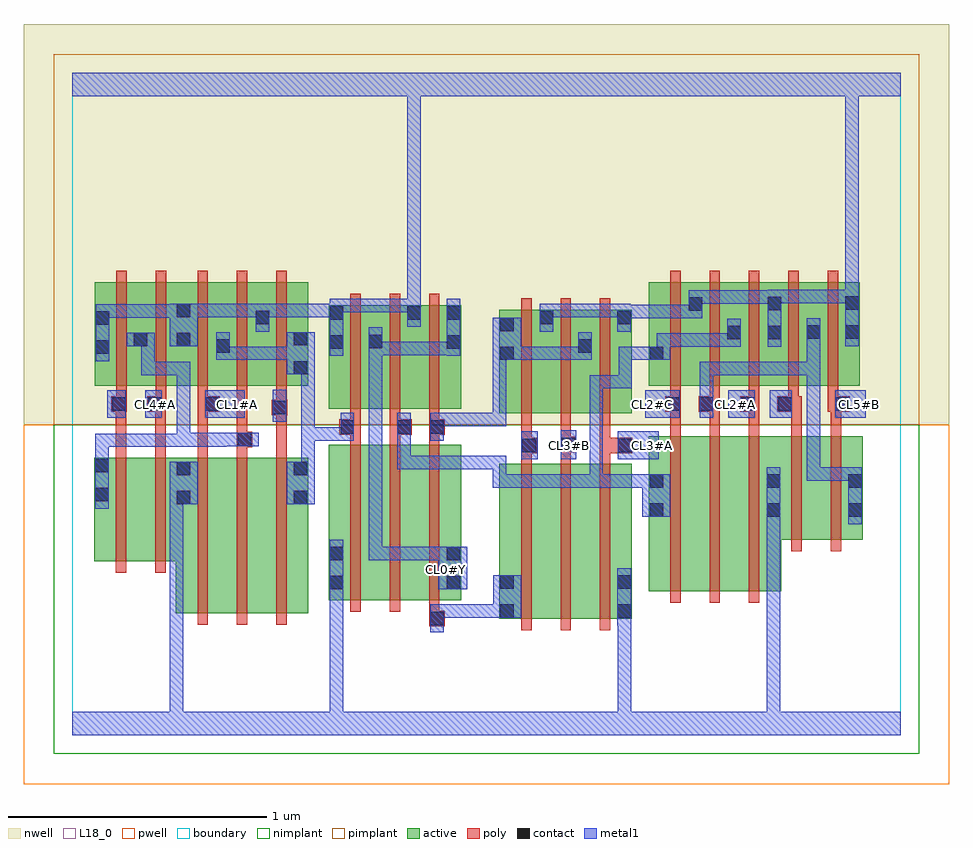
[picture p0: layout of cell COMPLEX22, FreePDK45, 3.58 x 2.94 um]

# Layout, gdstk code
import gdstk
lib = gdstk.Library(unit=1e-6, precision=1e-09)
def R(c, l, rs):  # rectangles x0, y0, x1, y1
    for r in rs: c.add(gdstk.rectangle(r[:2], r[2:], *l))
def A(c, l, x, y, w, h, nx, ny, dx, dy):  # array of equal rectangles
    R(c, l, [(x+i*dx, y+j*dy, x+i*dx+w, y+j*dy+h) for i in range(nx) for j in range(ny)])
active = (1, 0)
pwell = (2, 0)
nwell = (3, 0)
nimplant = (4, 0)
pimplant = (5, 0)
poly = (9, 0)
contact = (10, 0)
metal1 = (11, 0)
L18_0 = (18, 0)
boundary = (235, 0)

complex22 = lib.new_cell('COMPLEX22')
R(complex22, active, [(1.65,0.45,1.83,1.05), (1.65,0.45,1.71,1.05), (1.83,0.45,1.982,1.05), (1.982,0.45,2.162,1.05), (2.102,0.45,2.162,1.05), (0.4,0.472,0.58,1.072), (0.4,0.472,0.46,1.06), (0.58,0.472,0.732,1.072), (0.732,0.472,0.912,1.072), (0.99,0.522,1.17,1.122), (0.99,0.522,1.05,1.122), (1.17,0.522,1.322,1.122), (1.322,0.522,1.502,1.122), (1.442,0.522,1.502,1.122), (0.852,0.556,0.912,1.072), (2.226,0.556,2.406,1.156), (2.226,0.556,2.286,1.156), (2.406,0.556,2.558,1.156), (2.558,0.556,2.738,1.156), (0.084,0.672,0.264,1.072), (0.264,0.672,0.46,1.072), (0.084,0.756,0.144,1.072), (2.678,0.756,2.738,1.156), (2.678,0.756,2.874,1.156), (2.874,0.756,3.054,1.156), (2.994,0.756,3.054,1.156), (1.65,1.244,1.71,1.644), (1.65,1.244,1.862,1.644), (1.802,1.244,1.862,1.644), (1.802,1.244,2.01,1.644), (1.95,1.244,2.01,1.644), (1.95,1.244,2.162,1.644), (2.102,1.244,2.162,1.644), (0.99,1.262,1.05,1.662), (0.99,1.262,1.202,1.662), (1.142,1.262,1.202,1.662), (1.142,1.262,1.35,1.662), (1.29,1.262,1.502,1.662), (1.442,1.262,1.502,1.662), (0.086,1.35,0.294,1.75), (0.086,1.35,0.146,1.644), (0.234,1.35,0.46,1.75), (0.4,1.35,0.46,1.75), (0.4,1.35,0.612,1.75), (0.552,1.35,0.764,1.75), (0.704,1.35,0.912,1.75), (0.852,1.35,0.912,1.644), (2.226,1.35,2.438,1.75), (2.226,1.35,2.286,1.644), (2.378,1.35,2.586,1.75), (2.378,1.35,2.438,1.696), (2.526,1.35,2.742,1.75), (2.526,1.35,2.586,1.644), (2.682,1.35,2.742,1.75), (2.682,1.35,2.894,1.75), (2.834,1.35,2.894,1.75), (2.834,1.35,3.042,1.75), (2.982,1.35,3.042,1.75), (0.552,1.416,0.612,1.75), (0.234,1.5,0.294,1.644), (1.29,1.572,1.35,1.662), (0.704,1.584,0.764,1.644)])
R(complex22, pwell, [(-0.188,-0.188,3.388,1.2)])
R(complex22, nwell, [(-0.188,1.2,3.388,2.748)])
R(complex22, nimplant, [(-0.072,-0.072,3.272,1.2)])
R(complex22, pimplant, [(-0.072,1.2,3.272,2.632)])
A(complex22, poly, 1.734, 0.406, 0.04, 0.688, 3, 1, 0.152, 0)
A(complex22, poly, 0.484, 0.428, 0.04, 0.688, 3, 1, 0.152, 0)
A(complex22, poly, 1.074, 0.478, 0.04, 0.688, 3, 1, 0.152, 0)
A(complex22, poly, 2.31, 0.512, 0.04, 0.688, 3, 1, 0.152, 0)
A(complex22, poly, 1.074, 1.126, 0.04, 0.076, 3, 2, 0.152, 0.056)
A(complex22, poly, 2.31, 1.16, 0.04, 0.13, 3, 1, 0.152, 0)
A(complex22, poly, 1.734, 1.2, 0.04, 0.488, 3, 1, 0.152, 0)
A(complex22, poly, 1.074, 1.218, 0.04, 0.488, 3, 1, 0.152, 0)
A(complex22, poly, 2.31, 1.27, 0.04, 0.076, 5, 1, 0.152, 0)
A(complex22, poly, 0.484, 1.306, 0.04, 0.488, 3, 1, 0.152, 0)
A(complex22, poly, 2.31, 1.306, 0.04, 0.488, 5, 1, 0.152, 0)
R(complex22, poly, [(1.378,0.422,1.438,0.482), (1.378,0.442,1.418,0.518), (0.168,0.628,0.208,1.116), (0.32,0.628,0.36,1.116), (2.778,0.712,2.818,1.2), (2.93,0.712,2.97,1.2), (1.734,1.054,1.774,1.13), (1.886,1.054,1.926,1.134), (2.038,1.054,2.078,1.13), (0.168,1.076,0.208,1.29), (0.32,1.076,0.36,1.29), (0.484,1.076,0.524,1.29), (0.636,1.076,0.676,1.152), (0.788,1.076,0.828,1.276), (1.734,1.09,1.774,1.13), (1.734,1.09,1.774,1.13), (1.734,1.09,1.794,1.15), (2.038,1.09,2.164,1.15), (1.886,1.094,1.926,1.134), (1.886,1.094,1.926,1.134), (1.886,1.094,1.946,1.154), (1.734,1.11,1.774,1.24), (2.038,1.11,2.078,1.15), (2.038,1.11,2.078,1.15), (2.038,1.11,2.078,1.24), (0.636,1.112,0.696,1.172), (1.886,1.114,1.926,1.24), (0.636,1.132,0.676,1.172), (0.636,1.132,0.676,1.172), (0.636,1.132,0.676,1.346), (2.778,1.16,2.818,1.29), (2.93,1.16,2.97,1.29), (1.032,1.162,1.114,1.222), (1.074,1.162,1.114,1.202), (1.074,1.162,1.114,1.202), (1.226,1.162,1.312,1.222), (1.378,1.162,1.418,1.202), (1.378,1.162,1.418,1.202), (1.378,1.162,1.438,1.222), (1.226,1.182,1.266,1.222), (1.226,1.182,1.266,1.222), (0.77,1.236,0.83,1.296), (0.788,1.236,0.828,1.276), (0.788,1.236,0.828,1.276), (0.15,1.25,0.21,1.31), (0.168,1.25,0.208,1.29), (0.168,1.25,0.208,1.29), (0.29,1.25,0.36,1.31), (0.484,1.25,0.524,1.29), (0.484,1.25,0.524,1.29), (0.484,1.25,0.57,1.31), (2.29,1.25,2.35,1.31), (2.31,1.25,2.35,1.29), (2.31,1.25,2.35,1.29), (2.42,1.25,2.502,1.31), (2.462,1.25,2.502,1.29), (2.462,1.25,2.502,1.29), (2.58,1.25,2.654,1.31), (2.724,1.25,2.818,1.31), (2.918,1.25,3.004,1.31), (2.93,1.25,2.97,1.29), (2.93,1.25,2.97,1.29), (0.788,1.256,0.828,1.346), (0.17,1.27,0.21,1.346), (0.32,1.27,0.36,1.31), (0.32,1.27,0.362,1.31), (0.322,1.27,0.362,1.346), (0.484,1.27,0.524,1.346), (2.614,1.27,2.654,1.31), (2.614,1.27,2.654,1.31), (2.766,1.27,2.806,1.31), (2.766,1.27,2.806,1.31), (0.17,1.306,0.21,1.794), (0.322,1.306,0.362,1.794)])
R(complex22, contact, [(1.382,0.426,1.434,0.478), (1.654,0.454,1.706,0.506), (2.106,0.454,2.158,0.506), (0.994,0.564,1.046,0.616), (1.446,0.564,1.498,0.616), (1.654,0.566,1.706,0.618), (2.106,0.566,2.158,0.618), (0.994,0.676,1.046,0.728), (1.446,0.676,1.498,0.728), (2.23,0.844,2.282,0.896), (2.682,0.844,2.734,0.896), (2.998,0.844,3.05,0.896), (0.404,0.892,0.456,0.944), (0.856,0.892,0.908,0.944), (0.088,0.904,0.14,0.956), (2.23,0.956,2.282,1.008), (2.682,0.956,2.734,1.008), (2.998,0.956,3.05,1.008), (0.404,1.004,0.456,1.056), (0.856,1.004,0.908,1.056), (0.088,1.016,0.14,1.068), (1.738,1.094,1.79,1.146), (2.108,1.094,2.16,1.146), (1.89,1.098,1.942,1.15), (0.64,1.116,0.692,1.168), (1.036,1.166,1.088,1.218), (1.256,1.166,1.308,1.218), (1.382,1.166,1.434,1.218), (0.774,1.24,0.826,1.292), (0.154,1.254,0.206,1.306), (0.294,1.254,0.346,1.306), (0.514,1.254,0.566,1.306), (2.294,1.254,2.346,1.306), (2.424,1.254,2.476,1.306), (2.584,1.254,2.636,1.306), (2.728,1.254,2.78,1.306), (2.948,1.254,3,1.306), (0.856,1.394,0.908,1.446), (1.654,1.45,1.706,1.502), (2.23,1.45,2.282,1.502), (0.09,1.474,0.142,1.526), (0.556,1.478,0.608,1.53), (1.954,1.478,2.006,1.53), (0.994,1.494,1.046,1.546), (1.446,1.494,1.498,1.546), (1.146,1.496,1.198,1.548), (0.238,1.504,0.29,1.556), (0.404,1.504,0.456,1.556), (0.856,1.506,0.908,1.558), (2.53,1.53,2.582,1.582), (2.686,1.53,2.738,1.582), (2.838,1.532,2.89,1.584), (2.986,1.532,3.038,1.584), (1.654,1.562,1.706,1.614), (0.09,1.586,0.142,1.638), (0.708,1.588,0.76,1.64), (1.806,1.588,1.858,1.64), (2.106,1.588,2.158,1.64), (0.994,1.606,1.046,1.658), (1.294,1.606,1.346,1.658), (1.446,1.606,1.498,1.658), (0.404,1.616,0.456,1.668), (2.382,1.64,2.434,1.692), (2.686,1.642,2.738,1.694), (2.986,1.644,3.038,1.696)])
A(complex22, metal1, 2.534, 1.392, 0.052, 0.052, 3, 1, 0.152, 0)
R(complex22, metal1, [(0,0,3.2,0.092), (0.376,0.04,0.428,0.944), (0.994,0.04,1.046,0.092), (0.994,0.04,1.046,0.092), (0.994,0.04,1.046,0.092), (0.994,0.04,1.046,0.092), (0.994,0.04,1.046,0.092), (0.994,0.04,1.046,0.092), (0.994,0.04,1.046,0.588), (2.108,0.04,2.16,0.092), (2.108,0.04,2.16,0.092), (2.108,0.04,2.16,0.092), (2.108,0.04,2.16,0.092), (2.108,0.04,2.16,0.092), (2.108,0.04,2.16,0.092), (2.108,0.04,2.16,0.478), (2.682,0.04,2.734,0.092), (2.682,0.04,2.734,0.092), (2.682,0.04,2.734,0.092), (2.682,0.04,2.734,0.092), (2.682,0.04,2.734,0.092), (2.682,0.04,2.734,0.092), (2.682,0.04,2.734,0.092), (2.682,0.04,2.734,0.092), (2.682,0.04,2.734,0.868), (1.382,0.398,1.434,0.506), (2.106,0.426,2.16,0.646), (2.108,0.426,2.16,0.478), (2.108,0.426,2.16,0.478), (1.382,0.454,1.676,0.506), (1.624,0.454,1.676,0.506), (1.624,0.454,1.676,0.506), (1.624,0.454,1.678,0.506), (1.626,0.454,1.678,0.506), (1.626,0.454,1.734,0.618), (0.994,0.536,1.046,0.588), (0.994,0.536,1.046,0.588), (0.994,0.536,1.046,0.756), (1.414,0.564,1.526,0.728), (1.146,0.676,1.198,0.728), (1.146,0.676,1.198,0.728), (1.146,0.676,1.198,0.728), (1.146,0.676,1.198,0.728), (1.146,0.676,1.198,0.728), (1.146,0.676,1.308,0.728), (1.146,0.676,1.198,1.52), (1.256,0.676,1.308,0.728), (1.256,0.676,1.308,0.728), (1.256,0.676,1.308,0.728), (1.256,0.676,1.308,0.728), (1.256,0.676,1.308,0.728), (1.256,0.676,1.466,0.728), (1.414,0.676,1.466,0.728), (1.414,0.676,1.466,0.728), (1.414,0.676,1.466,0.728), (1.414,0.676,1.466,0.728), (1.414,0.676,1.466,0.728), (1.414,0.676,1.466,0.728), (2.682,0.816,2.734,1.036), (2.998,0.816,3.05,1.036), (2.202,0.844,2.31,1.008), (0.088,0.876,0.14,1.096), (0.376,0.892,0.428,0.944), (0.376,0.892,0.428,0.944), (0.376,0.892,0.428,0.944), (0.376,0.892,0.428,0.944), (0.376,0.892,0.428,0.944), (0.376,0.892,0.428,0.944), (0.376,0.892,0.428,0.944), (0.376,0.892,0.428,0.944), (0.376,0.892,0.484,1.056), (0.828,0.892,0.936,1.056), (1.624,0.956,1.786,1.008), (1.624,0.956,1.676,1.08), (1.734,0.956,1.786,1.008), (1.734,0.956,1.896,1.008), (1.844,0.956,1.896,1.008), (1.844,0.956,1.896,1.008), (1.844,0.956,1.896,1.008), (1.844,0.956,1.896,1.008), (1.844,0.956,1.896,1.008), (1.844,0.956,1.896,1.008), (1.844,0.956,1.896,1.008), (1.844,0.956,2.01,1.008), (1.844,0.956,2.05,1.008), (1.958,0.956,2.01,1.008), (1.958,0.956,2.054,1.008), (1.998,0.956,2.05,1.008), (1.998,0.956,2.05,1.392), (2.002,0.956,2.054,1.008), (2.002,0.956,2.158,1.008), (2.106,0.956,2.158,1.008), (2.106,0.956,2.254,1.008), (2.838,0.984,2.89,1.036), (2.838,0.984,3.05,1.036), (2.838,0.984,2.89,1.444), (2.998,0.984,3.05,1.036), (2.998,0.984,3.05,1.036), (0.884,1.004,0.936,1.056), (0.884,1.004,0.936,1.056), (0.884,1.004,0.936,1.19), (1.256,1.028,1.308,1.19), (1.256,1.028,1.566,1.08), (1.514,1.028,1.566,1.08), (1.514,1.028,1.566,1.08), (1.514,1.028,1.566,1.08), (1.514,1.028,1.676,1.08), (0.088,1.044,0.14,1.096), (0.088,1.044,0.14,1.166), (1.734,1.066,1.798,1.174), (1.886,1.066,1.946,1.178), (2.108,1.066,2.266,1.174), (0.088,1.114,0.316,1.166), (0.264,1.114,0.316,1.166), (0.264,1.114,0.316,1.166), (0.264,1.114,0.316,1.166), (0.264,1.114,0.484,1.166), (0.432,1.114,0.484,1.166), (0.432,1.114,0.484,1.166), (0.432,1.114,0.484,1.166), (0.432,1.114,0.594,1.166), (0.542,1.114,0.594,1.168), (0.404,1.116,0.456,1.168), (0.404,1.116,0.456,1.168), (0.404,1.116,0.456,1.168), (0.404,1.116,0.594,1.168), (0.404,1.116,0.456,1.444), (0.542,1.116,0.594,1.168), (0.542,1.116,0.594,1.168), (0.542,1.116,0.664,1.168), (0.612,1.116,0.72,1.168), (0.884,1.138,0.936,1.19), (0.884,1.138,0.936,1.446), (0.884,1.138,0.99,1.19), (0.938,1.138,0.99,1.19), (0.938,1.138,1.088,1.19), (1.036,1.138,1.088,1.246), (1.256,1.138,1.308,1.19), (1.256,1.138,1.308,1.246), (1.382,1.138,1.434,1.246), (1.382,1.194,1.434,1.246), (1.382,1.194,1.434,1.246), (1.382,1.194,1.676,1.246), (1.624,1.194,1.676,1.246), (1.624,1.194,1.676,1.502), (0.774,1.212,0.826,1.336), (0.134,1.226,0.206,1.334), (0.282,1.226,0.346,1.334), (0.514,1.226,0.666,1.334), (2.214,1.226,2.346,1.334), (2.424,1.226,2.476,1.444), (2.534,1.226,2.636,1.334), (2.694,1.226,2.78,1.334), (2.948,1.226,3.066,1.334), (1.998,1.34,2.05,1.392), (1.998,1.34,2.054,1.392), (2.002,1.34,2.054,1.392), (2.002,1.34,2.158,1.392), (2.106,1.34,2.158,1.392), (2.106,1.34,2.162,1.392), (2.11,1.34,2.162,1.392), (2.11,1.34,2.162,1.502), (0.266,1.392,0.318,1.444), (0.266,1.392,0.318,1.444), (0.266,1.392,0.318,1.444), (0.266,1.392,0.318,1.556), (0.266,1.392,0.456,1.444), (0.404,1.392,0.456,1.444), (2.424,1.392,2.586,1.444), (2.534,1.392,2.586,1.444), (2.534,1.392,2.586,1.444), (2.534,1.392,2.738,1.444), (2.686,1.392,2.89,1.444), (2.838,1.392,2.89,1.444), (2.838,1.392,2.89,1.444), (2.838,1.392,2.89,1.444), (2.838,1.392,2.89,1.444), (2.838,1.392,2.89,1.556), (0.828,1.394,0.936,1.558), (0.09,1.446,0.142,1.666), (0.556,1.45,0.608,1.502), (0.556,1.45,0.608,1.502), (0.556,1.45,0.718,1.502), (0.556,1.45,0.608,1.558), (0.666,1.45,0.718,1.502), (0.666,1.45,0.88,1.502), (0.828,1.45,0.88,1.502), (0.828,1.45,0.88,1.502), (1.624,1.45,1.734,1.614), (1.682,1.45,1.786,1.502), (1.734,1.45,1.786,1.502), (1.734,1.45,1.896,1.502), (1.844,1.45,1.896,1.502), (1.844,1.45,1.896,1.502), (1.844,1.45,1.896,1.502), (1.844,1.45,2.006,1.502), (1.954,1.45,2.006,1.558), (2.11,1.45,2.31,1.502), (2.258,1.45,2.31,1.502), (2.258,1.45,2.31,1.554), (0.994,1.466,1.046,1.686), (1.446,1.466,1.498,1.686), (1.146,1.468,1.308,1.52), (1.146,1.468,1.198,1.576), (1.256,1.468,1.308,1.52), (1.256,1.468,1.308,1.52), (1.256,1.468,1.308,1.52), (1.256,1.468,1.498,1.52), (1.446,1.468,1.498,1.52), (1.446,1.468,1.498,1.52), (2.258,1.502,2.42,1.554), (2.368,1.502,2.42,1.554), (2.368,1.502,2.42,1.554), (2.368,1.502,2.42,1.554), (2.368,1.502,2.582,1.554), (2.53,1.502,2.582,1.61), (2.686,1.502,2.738,1.722), (0.21,1.504,0.318,1.556), (0.376,1.504,0.484,1.668), (2.838,1.504,2.89,1.612), (2.986,1.504,3.038,1.724), (0.708,1.56,0.76,1.668), (1.806,1.56,1.858,1.668), (2.106,1.56,2.158,1.668), (1.294,1.578,1.346,1.686), (2.106,1.612,2.31,1.664), (2.258,1.612,2.31,1.664), (2.258,1.612,2.31,1.664), (2.258,1.612,2.31,1.664), (2.258,1.612,2.434,1.664), (2.382,1.612,2.434,1.72), (0.09,1.614,0.142,1.666), (0.09,1.614,0.142,1.666), (0.09,1.614,0.316,1.666), (0.264,1.614,0.316,1.666), (0.264,1.614,0.316,1.666), (0.264,1.614,0.316,1.666), (0.264,1.614,0.428,1.666), (0.432,1.616,0.484,1.668), (0.432,1.616,0.484,1.668), (0.432,1.616,0.608,1.668), (0.556,1.616,0.608,1.668), (0.556,1.616,0.608,1.668), (0.556,1.616,0.608,1.668), (0.556,1.616,0.76,1.668), (0.708,1.616,0.76,1.668), (0.708,1.616,0.76,1.668), (0.708,1.616,0.936,1.668), (0.884,1.616,0.936,1.668), (0.884,1.616,1.046,1.668), (1.806,1.616,1.896,1.668), (1.844,1.616,1.896,1.668), (1.844,1.616,2.01,1.668), (1.958,1.616,2.01,1.668), (1.958,1.616,2.054,1.668), (2.002,1.616,2.054,1.668), (2.002,1.616,2.158,1.668), (0.994,1.634,1.046,1.686), (0.994,1.634,1.046,1.686), (0.994,1.634,1.198,1.686), (1.146,1.634,1.198,1.686), (1.146,1.634,1.198,1.686), (1.146,1.634,1.198,1.686), (1.146,1.634,1.346,1.686), (1.294,1.634,1.346,1.686), (1.294,1.634,1.346,1.686), (1.294,1.634,1.346,1.686), (1.294,1.634,1.346,1.686), (1.294,1.634,1.346,1.686), (1.294,1.634,1.346,1.686), (1.294,1.634,1.346,1.686), (1.294,1.634,1.346,1.686), (1.294,1.634,1.346,1.686), (1.294,1.634,1.346,1.686), (1.294,1.634,1.346,1.686), (1.294,1.634,1.346,1.686), (1.294,1.634,1.346,1.686), (1.294,1.634,1.346,1.686), (1.294,1.634,1.346,2.52), (2.382,1.668,2.434,1.72), (2.382,1.668,2.434,1.72), (2.382,1.668,2.624,1.72), (2.572,1.668,2.624,1.72), (2.572,1.668,2.624,1.72), (2.572,1.668,2.624,1.72), (2.572,1.668,2.738,1.72), (2.686,1.67,2.738,1.722), (2.686,1.67,2.738,1.722), (2.686,1.67,2.848,1.722), (2.796,1.67,2.848,1.722), (2.796,1.67,3.038,1.722), (2.986,1.67,3.038,1.722), (2.986,1.67,3.038,1.722), (2.986,1.672,3.038,1.724), (2.986,1.672,3.038,1.724), (2.986,1.672,3.038,1.724), (2.986,1.672,3.038,1.724), (2.986,1.672,3.038,1.724), (2.986,1.672,3.038,1.724), (2.986,1.672,3.038,2.52), (0,2.468,3.2,2.56), (1.294,2.468,1.346,2.52), (1.294,2.468,1.346,2.52), (2.986,2.468,3.038,2.52), (2.986,2.468,3.038,2.52), (2.986,2.468,3.038,2.52), (2.986,2.468,3.038,2.52), (2.986,2.468,3.038,2.52), (2.986,2.468,3.038,2.52), (2.986,2.468,3.038,2.52), (2.986,2.468,3.038,2.52), (2.986,2.468,3.038,2.52), (2.986,2.468,3.038,2.52)])
R(complex22, L18_0, [(0,0,3.2,0.092), (0.376,0.04,0.428,0.944), (0.994,0.04,1.046,0.092), (0.994,0.04,1.046,0.092), (0.994,0.04,1.046,0.092), (0.994,0.04,1.046,0.092), (0.994,0.04,1.046,0.092), (0.994,0.04,1.046,0.092), (0.994,0.04,1.046,0.588), (2.108,0.04,2.16,0.092), (2.108,0.04,2.16,0.092), (2.108,0.04,2.16,0.092), (2.108,0.04,2.16,0.092), (2.108,0.04,2.16,0.092), (2.108,0.04,2.16,0.092), (2.108,0.04,2.16,0.478), (2.682,0.04,2.734,0.092), (2.682,0.04,2.734,0.092), (2.682,0.04,2.734,0.092), (2.682,0.04,2.734,0.092), (2.682,0.04,2.734,0.092), (2.682,0.04,2.734,0.092), (2.682,0.04,2.734,0.092), (2.682,0.04,2.734,0.092), (2.682,0.04,2.734,0.868), (2.106,0.426,2.16,0.646), (2.108,0.426,2.16,0.478), (2.108,0.426,2.16,0.478), (0.994,0.536,1.046,0.756), (0.994,0.536,1.046,0.588), (0.994,0.536,1.046,0.588), (1.414,0.564,1.526,0.728), (1.414,0.614,1.466,0.666), (1.146,0.676,1.198,0.728), (1.146,0.676,1.198,0.728), (1.146,0.676,1.198,0.728), (1.146,0.676,1.198,0.728), (1.146,0.676,1.198,0.728), (1.146,0.676,1.308,0.728), (1.146,0.676,1.198,1.52), (1.256,0.676,1.308,0.728), (1.256,0.676,1.308,0.728), (1.256,0.676,1.308,0.728), (1.256,0.676,1.308,0.728), (1.256,0.676,1.308,0.728), (1.256,0.676,1.466,0.728), (1.414,0.676,1.466,0.728), (1.414,0.676,1.466,0.728), (1.414,0.676,1.466,0.728), (1.414,0.676,1.466,0.728), (1.414,0.676,1.466,0.728), (1.414,0.676,1.466,0.728), (2.682,0.816,2.734,1.036), (0.376,0.892,0.428,0.944), (0.376,0.892,0.428,0.944), (0.376,0.892,0.428,0.944), (0.376,0.892,0.428,0.944), (0.376,0.892,0.428,0.944), (0.376,0.892,0.428,0.944), (0.376,0.892,0.428,0.944), (0.376,0.892,0.428,0.944), (0.376,0.892,0.484,1.056), (1.734,1.066,1.798,1.174), (1.886,1.066,1.946,1.178), (2.108,1.066,2.266,1.174), (1.734,1.094,1.786,1.146), (1.894,1.094,1.946,1.146), (2.214,1.094,2.266,1.146), (0.774,1.212,0.826,1.336), (0.134,1.226,0.206,1.334), (0.282,1.226,0.346,1.334), (0.514,1.226,0.666,1.334), (2.214,1.226,2.346,1.334), (2.534,1.226,2.636,1.334), (2.694,1.226,2.78,1.334), (2.948,1.226,3.066,1.334), (0.134,1.254,0.186,1.306), (0.294,1.254,0.346,1.306), (0.614,1.254,0.666,1.306), (0.774,1.254,0.826,1.306), (2.214,1.254,2.266,1.306), (2.534,1.254,2.586,1.306), (2.694,1.254,2.746,1.306), (3.014,1.254,3.066,1.306), (0.09,1.446,0.142,1.666), (0.994,1.466,1.046,1.686), (1.446,1.466,1.498,1.686), (1.146,1.468,1.198,1.576), (1.146,1.468,1.308,1.52), (1.256,1.468,1.308,1.52), (1.256,1.468,1.308,1.52), (1.256,1.468,1.308,1.52), (1.256,1.468,1.498,1.52), (1.446,1.468,1.498,1.52), (1.446,1.468,1.498,1.52), (2.686,1.502,2.738,1.722), (0.376,1.504,0.484,1.668), (2.986,1.504,3.038,1.724), (0.708,1.56,0.76,1.668), (1.806,1.56,1.858,1.668), (2.106,1.56,2.158,1.668), (1.294,1.578,1.346,1.686), (2.106,1.612,2.31,1.664), (2.258,1.612,2.31,1.664), (2.258,1.612,2.31,1.664), (2.258,1.612,2.31,1.664), (2.258,1.612,2.434,1.664), (2.382,1.612,2.434,1.72), (0.09,1.614,0.142,1.666), (0.09,1.614,0.142,1.666), (0.09,1.614,0.316,1.666), (0.264,1.614,0.316,1.666), (0.264,1.614,0.316,1.666), (0.264,1.614,0.316,1.666), (0.264,1.614,0.428,1.666), (0.432,1.616,0.484,1.668), (0.432,1.616,0.484,1.668), (0.432,1.616,0.608,1.668), (0.556,1.616,0.608,1.668), (0.556,1.616,0.608,1.668), (0.556,1.616,0.608,1.668), (0.556,1.616,0.76,1.668), (0.708,1.616,0.76,1.668), (0.708,1.616,0.76,1.668), (0.708,1.616,0.936,1.668), (0.884,1.616,0.936,1.668), (0.884,1.616,1.046,1.668), (1.806,1.616,1.896,1.668), (1.844,1.616,1.896,1.668), (1.844,1.616,2.01,1.668), (1.958,1.616,2.01,1.668), (1.958,1.616,2.054,1.668), (2.002,1.616,2.054,1.668), (2.002,1.616,2.158,1.668), (0.994,1.634,1.046,1.686), (0.994,1.634,1.046,1.686), (0.994,1.634,1.198,1.686), (1.146,1.634,1.198,1.686), (1.146,1.634,1.198,1.686), (1.146,1.634,1.198,1.686), (1.146,1.634,1.346,1.686), (1.294,1.634,1.346,1.686), (1.294,1.634,1.346,1.686), (1.294,1.634,1.346,1.686), (1.294,1.634,1.346,1.686), (1.294,1.634,1.346,1.686), (1.294,1.634,1.346,1.686), (1.294,1.634,1.346,1.686), (1.294,1.634,1.346,1.686), (1.294,1.634,1.346,1.686), (1.294,1.634,1.346,1.686), (1.294,1.634,1.346,1.686), (1.294,1.634,1.346,1.686), (1.294,1.634,1.346,1.686), (1.294,1.634,1.346,1.686), (1.294,1.634,1.346,2.52), (2.382,1.668,2.434,1.72), (2.382,1.668,2.434,1.72), (2.382,1.668,2.624,1.72), (2.572,1.668,2.624,1.72), (2.572,1.668,2.624,1.72), (2.572,1.668,2.624,1.72), (2.572,1.668,2.738,1.72), (2.686,1.67,2.738,1.722), (2.686,1.67,2.738,1.722), (2.686,1.67,2.848,1.722), (2.796,1.67,2.848,1.722), (2.796,1.67,3.038,1.722), (2.986,1.67,3.038,1.722), (2.986,1.67,3.038,1.722), (2.986,1.672,3.038,1.724), (2.986,1.672,3.038,1.724), (2.986,1.672,3.038,1.724), (2.986,1.672,3.038,1.724), (2.986,1.672,3.038,1.724), (2.986,1.672,3.038,1.724), (2.986,1.672,3.038,2.52), (0,2.468,3.2,2.56), (1.294,2.468,1.346,2.52), (1.294,2.468,1.346,2.52), (2.986,2.468,3.038,2.52), (2.986,2.468,3.038,2.52), (2.986,2.468,3.038,2.52), (2.986,2.468,3.038,2.52), (2.986,2.468,3.038,2.52), (2.986,2.468,3.038,2.52), (2.986,2.468,3.038,2.52), (2.986,2.468,3.038,2.52), (2.986,2.468,3.038,2.52), (2.986,2.468,3.038,2.52)])
R(complex22, boundary, [(0,0,3.2,2.56)])
complex22.add(gdstk.Label('CL0#Y', (1.44,0.64), layer=11, texttype=0))
complex22.add(gdstk.Label('CL1#A', (0.64,1.28), layer=11, texttype=0))
complex22.add(gdstk.Label('CL1#C', (0.8,1.28), layer=11, texttype=0))
complex22.add(gdstk.Label('CL2#A', (2.56,1.28), layer=11, texttype=0))
complex22.add(gdstk.Label('CL2#C', (2.24,1.28), layer=11, texttype=0))
complex22.add(gdstk.Label('CL3#A', (2.24,1.12), layer=11, texttype=0))
complex22.add(gdstk.Label('CL3#B', (1.92,1.12), layer=11, texttype=0))
complex22.add(gdstk.Label('CL3#C', (1.76,1.12), layer=11, texttype=0))
complex22.add(gdstk.Label('CL4#A', (0.32,1.28), layer=11, texttype=0))
complex22.add(gdstk.Label('CL4#B', (0.16,1.28), layer=11, texttype=0))
complex22.add(gdstk.Label('CL5#A', (2.72,1.28), layer=11, texttype=0))
complex22.add(gdstk.Label('CL5#B', (3.04,1.28), layer=11, texttype=0))

lib.write_gds('COMPLEX22.gds')
